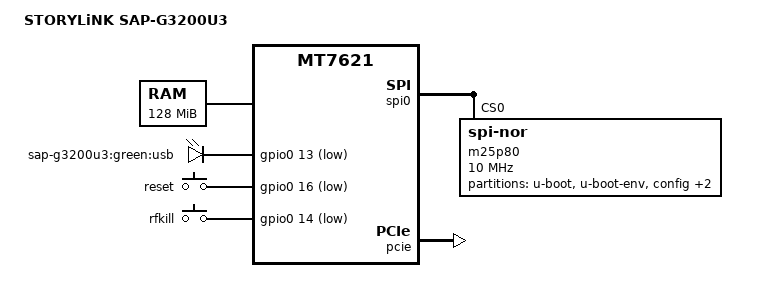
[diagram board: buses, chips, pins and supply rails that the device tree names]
/dts-v1/;

#include "mt7621.dtsi"

/ {
	compatible = "mediatek,mt7621-eval-board", "mediatek,mt7621-soc";
	model = "STORYLiNK SAP-G3200U3";

	memory@0 {
		device_type = "memory";
		reg = <0x0 0x8000000>;
	};

	chosen {
		bootargs = "console=ttyS0,57600";
	};

	gpio-leds {
		compatible = "gpio-leds";

		usb {
			label = "sap-g3200u3:green:usb";
			gpios = <&gpio0 13 1>;
		};
	};

	gpio-keys-polled {
		compatible = "gpio-keys-polled";
		#address-cells = <1>;
		#size-cells = <0>;
		poll-interval = <20>;

		reset {
			label = "reset";
			gpios = <&gpio0 16 1>;
			linux,code = <0x198>;
		};

		rfkill {
			label = "rfkill";
			gpios = <&gpio0 14 1>;
			linux,code = <0xf7>;
		};
	};
};

&spi0 {
	status = "okay";

	m25p80@0 {
		#address-cells = <1>;
		#size-cells = <1>;
		compatible = "jedec,spi-nor";
		reg = <0>;
		linux,modalias = "m25p80", "en25q64";
		spi-max-frequency = <10000000>;

		partition@0 {
			label = "u-boot";
			reg = <0x0 0x30000>;
			read-only;
		};

		partition@30000 {
			label = "u-boot-env";
			reg = <0x30000 0x1000>;
			read-only;
		};

		partition@31000 {
			label = "config";
			reg = <0x31000 0xf000>;
			read-only;
		};

		factory: partition@40000 {
			label = "factory";
			reg = <0x40000 0x10000>;
			read-only;
		};

		partition@50000 {
			label = "firmware";
			reg = <0x50000 0x7b0000>;
		};
	};
};

&pcie {
	status = "okay";

	pcie0 {
		mt76@0,0 {
			reg = <0x0000 0 0 0 0>;
			device_type = "pci";
			mediatek,mtd-eeprom = <&factory 0x8000>;
			mediatek,2ghz = <0>;
		};
	};

	pcie1 {
		mt76@1,0 {
			reg = <0x0000 0 0 0 0>;
			device_type = "pci";
			mediatek,mtd-eeprom = <&factory 0x0000>;
			mediatek,5ghz = <0>;
		};
	};
};

&ethernet {
	mtd-mac-address = <&factory 0xe006>;
};

&pinctrl {
	state_default: pinctrl0 {
		gpio {
			ralink,group = "uart3", "jtag";
			ralink,function = "gpio";
		};
	};
};
